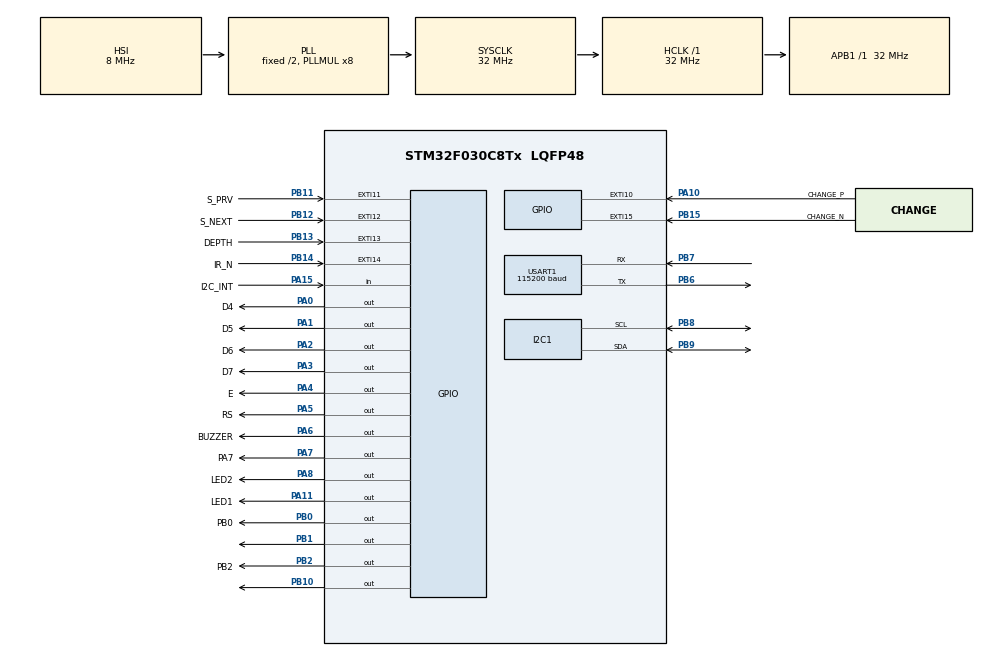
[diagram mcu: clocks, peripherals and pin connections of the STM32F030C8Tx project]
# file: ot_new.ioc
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Mcu.Family=STM32F0
Mcu.Name=STM32F030C8Tx
Mcu.Package=LQFP48
NVIC.EXTI4_15_IRQn=true\:0\:0\:false\:false\:true\:true\:true\:true
NVIC.RCC_IRQn=true\:0\:0\:false\:false\:true\:true\:false\:true
NVIC.TIM14_IRQn=true\:0\:0\:false\:false\:true\:true\:true\:true
NVIC.TIM6_IRQn=true\:0\:0\:false\:false\:true\:true\:true\:true
NVIC.USART1_IRQn=true\:1\:0\:true\:false\:true\:true\:true\:true
PA0.GPIO_Label=D4
PA0.Signal=GPIO_Output
PA1.GPIO_Label=D5
PA1.Signal=GPIO_Output
PA10.GPIO_Label=CHANGE_P
PA10.Signal=GPXTI10
PA11.GPIO_Label=LED1
PA11.Signal=GPIO_Output
PA12.Signal=USART1_DE
PA13.Mode=Serial_Wire
PA13.Signal=SYS_SWDIO
PA14.Mode=Serial_Wire
PA14.Signal=SYS_SWCLK
PA15.GPIO_Label=I2C_INT
PA15.Signal=GPIO_Input
PA2.GPIO_Label=D6
PA2.Signal=GPIO_Output
PA3.GPIO_Label=D7
PA3.Signal=GPIO_Output
PA4.GPIO_Label=E
PA4.Signal=GPIO_Output
PA5.GPIO_Label=RS
PA5.Signal=GPIO_Output
PA6.GPIO_Label=BUZZER
PA6.Signal=GPIO_Output
PA7.GPIO_Label=PA7
PA7.Signal=GPIO_Output
PA8.GPIO_Label=LED2
PA8.Signal=GPIO_Output
PB0.GPIO_Label=PB0
PB0.Signal=GPIO_Output
PB1.Signal=GPIO_Output
PB10.Signal=GPIO_Output
PB11.GPIO_Label=S_PRV
PB11.Signal=GPXTI11
PB12.GPIO_Label=S_NEXT
PB12.Signal=GPXTI12
PB13.GPIO_Label=DEPTH
PB13.Signal=GPXTI13
PB14.GPIO_Label=IR_N
PB14.Signal=GPXTI14
PB15.GPIO_Label=CHANGE_N
PB15.Signal=GPXTI15
PB2.GPIO_Label=PB2
PB2.Signal=GPIO_Output
PB6.Mode=Asynchronous
PB6.Signal=USART1_TX
PB7.Mode=Asynchronous
PB7.Signal=USART1_RX
PB8.GPIO_Pu=GPIO_PULLUP
PB8.Mode=I2C
PB8.Signal=I2C1_SCL
PB9.GPIO_Pu=GPIO_PULLUP
PB9.Mode=I2C
PB9.Signal=I2C1_SDA
PF0-OSC_IN.Mode=HSE-External-Oscillator
PF0-OSC_IN.Signal=RCC_OSC_IN
PF1-OSC_OUT.Mode=HSE-External-Oscillator
PF1-OSC_OUT.Signal=RCC_OSC_OUT
ProjectManager.HeapSize=0x200
ProjectManager.StackSize=0x400
ProjectManager.TargetToolchain=STM32CubeIDE
RCC.AHBFreq_Value=32000000
RCC.APB1Freq_Value=32000000
RCC.APB1TimFreq_Value=32000000
RCC.HCLKFreq_Value=32000000
RCC.PLLMUL=RCC_PLL_MUL8
RCC.SYSCLKFreq_VALUE=32000000
RCC.SYSCLKSource=RCC_SYSCLKSOURCE_PLLCLK
TIM14.Period=3000
TIM14.Prescaler=32000-1
TIM6.AutoReloadPreload=TIM_AUTORELOAD_PRELOAD_ENABLE
TIM6.Period=1000-1
TIM6.Prescaler=32000-1
USART1.BaudRate=115200
USART1.VirtualMode-Asynchronous=VM_ASYNC
VP_TIM14_VS_ClockSourceINT.Mode=Enable_Timer
VP_TIM6_VS_ClockSourceINT.Mode=Enable_Timer
board=custom

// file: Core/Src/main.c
/* USER CODE BEGIN Header */
/**
 ******************************************************************************
 * @file           : main.c
 * @brief          : Main program body
 ******************************************************************************
 * @attention
 *
 * Copyright (c) 2022 STMicroelectronics.
 * All rights reserved.
 *
 * This software is licensed under terms that can be found in the LICENSE file
 * in the root directory of this software component.
 * If no LICENSE file comes with this software, it is provided AS-IS.
 *
 ******************************************************************************
 */
/* USER CODE END Header */
#include "main.h"

/* USER CODE BEGIN Includes */
#include <stdio.h>
#include <stdbool.h>
/* USER CODE END Includes */

/* USER CODE BEGIN PTD */
uint32_t timer_intrupt = 0;
uint8_t depth_press = 0;
uint8_t focus_upd = 0;
#define on 1
#define off 0

void page_3_print(void);
void page_2_print(void);
void send_cmd(int8_t x, int8_t mode);

uint8_t last_pg, current_pg;
uint8_t pg2 = 0;
uint8_t pg2_fc = 0;

uint8_t pg3_sm, pg3_md, pg3_wd = 0;

uint32_t tt_cnt = 0;
uint8_t last_ps;
uint8_t Rx_data[2];
enum pos
{
	intensity = 1,
	color,
	sensor,
	lamp,
	endo,
	depth
};

enum key
{
	_prv,
	_nxt,
	_depth,
	_neg,
	_pos,
	_lmp
};

struct key_status_reg
{
	volatile uint8_t prv : 1;
	volatile uint8_t nxt : 1;
	volatile uint8_t depth : 1;
	volatile uint8_t pos : 1;
	volatile uint8_t neg : 1;
};

struct gesture_status_reg
{
	uint8_t up : 1;
	uint8_t down : 1;
	uint8_t left : 1;
	uint8_t right : 1;
};

struct interrupt_flag_reg
{
	volatile uint8_t key_flag : 1;
	volatile uint8_t gesture_flag : 1;
	volatile uint8_t screen_flag : 1;
	volatile uint8_t prv_long_press : 1;
	volatile uint8_t depth_long_press : 1;
	volatile uint8_t update_data : 1;
};

struct pos_status_reg
{
	int8_t position_cursor;
	uint16_t key_number : 3;
	uint16_t gesture_direction : 2;
	uint16_t screen_number : 3;
};

struct screen_data_reg
{
	uint8_t intensity : 4;
	uint8_t sensor : 1;
	uint8_t lamp : 1;
	uint8_t endo : 1;
	uint8_t depth : 1;
	int8_t color;
};

enum pos cursor;
struct key_status_reg key_pressed;
struct gesture_status_reg ges_dir;
struct interrupt_flag_reg interrupt_reg;
struct pos_status_reg current_pos = {1, 0, 0, 1};
struct screen_data_reg data_reg = {1, 0, 1, 0, 0, 0};

int8_t last_inten;
int8_t last_focus;
/* USER CODE END PTD */

/* USER CODE BEGIN PM */
void init_gesture();
uint8_t readGesture();
uint8_t gestureAvailable();
void clr_select();
void clr_data(uint8_t);
/* USER CODE END PM */

I2C_HandleTypeDef hi2c1;

TIM_HandleTypeDef htim6;
TIM_HandleTypeDef htim14;

UART_HandleTypeDef huart1;

void SystemClock_Config(void);
static void MX_GPIO_Init(void);
static void MX_TIM6_Init(void);
static void MX_USART1_UART_Init(void);
static void MX_TIM14_Init(void);
static void MX_I2C1_Init(void);

/* USER CODE BEGIN 0 */

void home_page(void);
void lcd_clear(void);
void lcd_init(void);
void lcd_puts(uint8_t x, uint8_t y, int8_t *string);

// volatile  uint8_t intr = 0;
// void HAL_UART_RxCpltCallback(UART_HandleTypeDef *huart)
//{
//	HAL_UART_Receive_IT(&huart1, Rx_data, 2);
//	intr = 1;
// }

volatile uint8_t int_flag = 0;
uint8_t trans[2];
uint8_t pic;

// void HAL_UART_RxCpltCallback(UART_HandleTypeDef *huart)
//{
//   HAL_UART_Receive_DMA(&huart1, trans, 2);
//   int_flag = 1;
// }

void HAL_UART_RxCpltCallback(UART_HandleTypeDef *huart)
{
	//	printf(Rx_data);
	HAL_UART_Receive_IT(&huart1, trans, 2);

	//  HAL_UART_Transmit(&huart1,trans,10,HAL_MAX_DELAY);
	//  memset(Rx_data,0,10);

	int_flag = 1;
}

uint8_t but_state = 0;
// Callback: timer has rolled over
// void HAL_TIM_PeriodElapsedCallback(TIM_HandleTypeDef *htim)
// {
// 	// Check which version of the timer triggered this callback and toggle LED
// 	if (htim == &htim6)
// 	{
// 		//    HAL_GPIO_TogglePin(GPIOA, GPIO_PIN_5);
// 		tt_cnt++;
// 	}
// }

void HAL_TIM_PeriodElapsedCallback(TIM_HandleTypeDef *htim)
{

	if (htim == &htim6)
	{
		//    HAL_GPIO_TogglePin(GPIOA, GPIO_PIN_5);
		tt_cnt++;
	}
	/* Prevent unused argument(s) compilation warning */
	UNUSED(htim);

	/* NOTE : This function should not be modified, when the callback is needed,
			  the HAL_TIM_PeriodElapsedCallback could be implemented in the user file
	 */

	if (htim == &htim14)
	{
		if (HAL_GPIO_ReadPin(S_PRV_GPIO_Port, S_PRV_Pin) == GPIO_PIN_RESET)
		{

			but_state = true;
			HAL_TIM_Base_Stop_IT(&htim14);
		}
	}
}

void print_int(int _data)
{
	int8_t buffer[8];
	lcd_clear();
	sprintf(buffer, "%02d", _data);
	lcd_puts(3, 2, buffer); // x = 2, y = 3
}

uint8_t chk_cmd = 0;
uint8_t update_key_press()
{
	if (key_pressed.prv)
	{
		current_pos.key_number = _prv;
		key_pressed.prv = 0;
		chk_cmd = 1;
		return _prv;
	}
	else if (key_pressed.nxt)
	{
		key_pressed.nxt = 0;
		chk_cmd = 1;
		current_pos.key_number = _nxt;

		return _nxt;
	}
	else if (key_pressed.depth)
	{
		// 		key_pressed.depth = 0;
		// 		current_pos.key_number = _depth;
		// 		data_reg.depth = !data_reg.depth;
		// 		clr_data(depth);
		// 		clr_select();
		// //		lcd_puts(3, 10, (int8_t *)">");
		// 		if (data_reg.depth)
		// 			lcd_puts(3, 17, (int8_t *)"ON");
		// 		else
		// 			lcd_puts(3, 17, (int8_t *)"OFF");

		// 		return _depth;

		key_pressed.depth = 0;
		current_pos.key_number = _depth;
		// data_reg.endo = !data_reg.endo;
		clr_data(endo);
		clr_select();
		//		lcd_puts(3, 10, (int8_t *)">");

		if (data_reg.endo)
			lcd_puts(2, 17, (int8_t *)"ON");
		else
			lcd_puts(2, 17, (int8_t *)"OFF");

		return _depth;
	}
	else if (key_pressed.pos)
	{
		key_pressed.pos = 0;
		current_pos.key_number = _pos;
		last_ps = _pos;
		chk_cmd = 0;
		return _pos;
	}
	else if (key_pressed.neg)
	{
		key_pressed.neg = 0;
		current_pos.key_number = _neg;
		last_ps = _neg;
		chk_cmd = 0;
		return _neg;
	}

	return 0;
}

// void long_prv_press()
//{
//	current_pos.position_cursor =  sensor;
//	data_reg.sensor = !data_reg.sensor;
//
// }
void set_data_positive()
{
	if (pg2_fc == 0)
	{
		switch (current_pos.position_cursor)
		{
		case intensity:
			if (!data_reg.depth)
			{
				data_reg.intensity++;
				if (data_reg.intensity >= 10)
				{
					data_reg.intensity = 10;
				}
			}
			else
			{
				//				data_reg.intensity = 10;
				depth_press = 1;
			}

			break;
		case color:
			// if (!data_reg.depth)
			// {
			data_reg.color++;
			if (data_reg.color > 1)
			{
				data_reg.color = 1;
			}
			// }

			break;
		case sensor:
			data_reg.sensor = on;
			break;
		case lamp:
			data_reg.lamp = on;
			break;
		case endo:
			data_reg.endo = on;
			break;
		case depth:
			data_reg.depth = on;
			//			last_inten = data_reg.intensity;
			break;
		case 7:
			pg2_fc = on;
			break;
		}
	}

	else
	{
		switch (current_pos.position_cursor)
		{
		case 7:
			pg2_fc = on;
			pg3_sm = off;
			pg3_md = off;
			pg3_wd = off;
			break;
		case 1:
			pg3_sm = on;
			pg3_md = off;
			pg3_wd = off;
			break;
		case 2:
			pg3_sm = off;
			pg3_md = on;
			pg3_wd = off;
			break;
		case 3:
			pg3_sm = off;
			pg3_md = off;
			pg3_wd = on;
			break;
		}
	}
}

void set_data_negative()
{
	if (pg2_fc == 0)
	{

		switch (current_pos.position_cursor)
		{
		case intensity:
			if (!data_reg.depth)
			{
				data_reg.intensity--;
				if (data_reg.intensity <= 1)
				{
					data_reg.intensity = 1;
				}
			}
			else
			{
				depth_press = 1;
			}
			break;
		case color:
			// if (!data_reg.depth)
			// {
			data_reg.color--;
			if (data_reg.color < -1)
			{
				data_reg.color = -1;
			}
			// }
			break;
		case sensor:
			data_reg.sensor = off;
			break;
		case lamp:
			data_reg.lamp = off;
			break;
		case endo:
			data_reg.endo = off;
			data_reg.intensity = data_reg.intensity;
			break;
		case depth:
			data_reg.depth = off;
			break;
		case 7:
			pg2_fc = off;
			break;
		}
	}

	else
	{
		switch (current_pos.position_cursor)
		{
		case 7:
			pg2_fc = off;
			break;
		case 1:
			pg3_sm = off;
			break;
		case 2:
			pg3_md = off;
			break;
		case 3:
			pg3_wd = off;
			break;
		}
	}
}

void update_new_data()
{
	switch (current_pos.key_number)
	{
	case _prv:
		current_pos.position_cursor--;
		if (!data_reg.sensor)
		{

			if (current_pos.position_cursor == 3)
			{
				current_pos.position_cursor = 2;
			}
		}
		// if (pg2_fc == 1)
		// {
		// 	if (current_pos.position_cursor > 3)
		// 	{
		// 		current_pos.position_cursor = 7;
		// 	}
		// }

		if (current_pos.position_cursor <= 0)
		{
			//			lcd_clear();
			current_pos.position_cursor = 7;
		}
		break;
	case _nxt:
		current_pos.position_cursor++;

		if (!data_reg.sensor)
		{

			if (current_pos.position_cursor == 3 && (pg2_fc == 0))
			{
				current_pos.position_cursor = 4;
			}
		}
		//		if (current_pos.position_cursor == 7)
		//		{
		//			page_2_print();
		//		}

		//		if (pg2_fc == 1)
		//		{
		//			if (current_pos.position_cursor > 3)
		//			{
		//				current_pos.position_cursor = 7;
		//			}
		//		}

		if (current_pos.position_cursor > 7)
		{

			current_pos.position_cursor = 1;
		}
		break;
	case _depth:
		//		data_reg.depth = !data_reg.depth;
		// 		if (data_reg.depth)
		// 		{
		// 			current_pos.position_cursor = intensity;
		// 			last_inten = data_reg.intensity;
		// 			data_reg.intensity = 10;
		// 			depth_press = 1;
		// //			data_reg.depth = on;
		// 		}

		data_reg.endo = !data_reg.endo;
		current_pos.position_cursor = endo;
		if (data_reg.endo)
		{

			// last_inten = data_reg.intensity;
			data_reg.endo = 1;
			// depth_press = 1;
			//			data_reg.depth = on;
		}

		else
		{
			// current_pos.position_cursor = endo;
			data_reg.endo = 0;
			// depth_press = 1;
			//			data_reg.depth = off;
		}
		break;
	case _pos:
		set_data_positive();
		break;
	case _neg:
		set_data_negative();
		break;
	case _lmp:
		data_reg.lamp = !data_reg.lamp;
		current_pos.position_cursor = lamp;
		if (data_reg.lamp)
		{

			data_reg.lamp = 1;
		}

		else
		{

			data_reg.lamp = 0;
		}
		break;
	}
}

void page_2_print()
{
	lcd_puts(0, 0, (int8_t *)">");
	lcd_puts(0, 1, (int8_t *)"FOCUS  :");
}

void page_3_print()
{
	// char buf[3];
	// lcd_puts(0, 0, (int8_t *)">");
	// lcd_puts(0, 1, (int8_t *)"FOCUS  :");
	// lcd_puts(1, 1, (int8_t *)"SMALL  : ");
	// lcd_puts(2, 1, (int8_t *)"Medium : ");
	// lcd_puts(3, 1, (int8_t *)"Wide   : ");

	// lcd_puts(1, 10, (int8_t *)"ON");
	// lcd_puts(3, 10, (int8_t *)"OFF");
	// lcd_puts(2, 10, (int8_t *)"OFF");

	// switch (current_pos.position_cursor)
	// {

	// case 1:
	// 		if (pg3_sm)
	// 			lcd_puts(1, 17, (int8_t *)"ON");
	// 		else
	// 			lcd_puts(1, 17, (int8_t *)"OFF");

	// 	break;
	// case 2:
	// 		if (pg3_md)
	// 			lcd_puts(1, 17, (int8_t *)"ON");
	// 		else
	// 			lcd_puts(1, 17, (int8_t *)"OFF");
	// 	break;
	// case 3:
	// 		if (pg3_wd)
	// 			lcd_puts(1, 17, (int8_t *)"ON");
	// 		else
	// 			lcd_puts(1, 17, (int8_t *)"OFF");
	// 	break;
	// }

	// if (pg3_sm)
	// {
	// 	clr_data(8);
	// 	send_cmd(pg3_sm, 8);
	// 	lcd_puts(1, 10, (int8_t *)"ON");
	// 	lcd_puts(3, 10, (int8_t *)"OFF");
	// 	lcd_puts(2, 10, (int8_t *)"OFF");
	// }
	// else
	// {
	// 	lcd_puts(1, 10, (int8_t *)"OFF");
	// 	send_cmd(pg3_sm, 8);
	// }

	//  if (pg3_md)
	// {
	// 	clr_data(9);
	// 	send_cmd(pg3_md, 9);
	// 	lcd_puts(2, 10, (int8_t *)"ON");
	// 	lcd_puts(3, 10, (int8_t *)"OFF");
	// 	lcd_puts(1, 10, (int8_t *)"OFF");
	// }

	// else
	// {
	// 	lcd_puts(2, 10, (int8_t *)"OFF");
	// 	send_cmd(pg3_md, 9);
	// }

	//  if (pg3_wd)
	// {
	// 	clr_data(10);
	// 	send_cmd(pg3_wd, 10);
	// 	lcd_puts(3, 10, (int8_t *)"ON");
	// 	lcd_puts(1, 10, (int8_t *)"OFF");
	// 	lcd_puts(2, 10, (int8_t *)"OFF");
	// }

	// else
	// {
	// 	send_cmd(pg3_wd, 10);
	// 	lcd_puts(3, 10, (int8_t *)"OFF");
	// }

	// else
	// {
	// 	lcd_puts(3, 10, (int8_t *)"OFF");
	// 	lcd_puts(1, 10, (int8_t *)"OFF");
	// 	lcd_puts(2, 10, (int8_t *)"OFF");
	// }
}

void update_screen_data_2()
{
	focus_upd = 1;
	lcd_puts(0, 0, (int8_t *)">");
	lcd_puts(0, 10, (int8_t *)"Disable");

	// lcd_puts(2, 10, (int8_t *)"OFF");
	// send_cmd(!pg3_md, 9);

	// lcd_puts(1, 10, (int8_t *)"OFF");
	// send_cmd(!pg3_sm, 8);

	// lcd_puts(3, 10, (int8_t *)"OFF");
	// send_cmd(!pg3_wd, 10);
	// send_cmd(1, 11);
}

void update_screen_data_3()
{

	// if (current_pos.key_number == _pos || current_pos.key_number == _neg)

	lcd_puts(0, 0, (int8_t *)">");
	lcd_puts(0, 1, (int8_t *)"FOCUS  :");
	lcd_puts(1, 1, (int8_t *)"SMALL  : ");
	lcd_puts(2, 1, (int8_t *)"Medium : ");
	lcd_puts(3, 1, (int8_t *)"Wide   : ");

	switch (current_pos.position_cursor)
	{

	case 7:

		if (pg2_fc == 1)
		{

			lcd_puts(0, 15, (int8_t *)"  ");
			lcd_puts(0, 10, (int8_t *)"Enable");
			lcd_puts(1, 10, (int8_t *)"OFF");
			lcd_puts(2, 10, (int8_t *)"OFF");
			lcd_puts(3, 10, (int8_t *)"OFF");
			if (focus_upd)
			{
				lcd_puts(3, 10, (int8_t *)"OFF");
				lcd_puts(1, 10, (int8_t *)"OFF");
				lcd_puts(2, 10, (int8_t *)"OFF");
				pg3_sm = 0;
				pg3_md = 0;
				pg3_wd = 0;
			}

			last_focus = data_reg.intensity;

			// if (pg3_md)
			// {
			// 	lcd_puts(2, 10, (int8_t *)"   ");
			// 	lcd_puts(1, 10, (int8_t *)"OFF");
			// 	lcd_puts(2, 10, (int8_t *)"ON");
			// 	lcd_puts(3, 10, (int8_t *)"OFF");
			// 	send_cmd(pg3_md, 9);
			// }
			// send_cmd(0, 11);
		}
		// else if(pg2_fc == 5)
		// {

		// }
		else
		{
			lcd_puts(0, 0, (int8_t *)">");
			lcd_puts(1, 0, (int8_t *)" ");
			lcd_puts(2, 0, (int8_t *)" ");
			lcd_puts(3, 0, (int8_t *)" ");
			// focus_upd=1;
			if (focus_upd == 1)
			{
				lcd_puts(2, 10, (int8_t *)"OFF");
				lcd_puts(1, 10, (int8_t *)"OFF");
				lcd_puts(3, 10, (int8_t *)"OFF");
			}
			lcd_puts(0, 10, (int8_t *)"Disable");

			// lcd_puts(2, 10, (int8_t *)"OFF");
			send_cmd(!pg3_md, 9);

			// lcd_puts(1, 10, (int8_t *)"OFF");
			send_cmd(!pg3_sm, 8);

			// lcd_puts(3, 10, (int8_t *)"OFF");
			send_cmd(!pg3_wd, 10);

			// send_cmd(1, 11);
		}
		break;

	case 1:
		lcd_puts(0, 0, (int8_t *)" ");
		lcd_puts(1, 0, (int8_t *)">");
		lcd_puts(2, 0, (int8_t *)" ");
		lcd_puts(3, 0, (int8_t *)" ");
		lcd_puts(0, 10, (int8_t *)"Enable");

		if (pg3_sm)
		{
			focus_upd = 0;
			lcd_puts(1, 10, (int8_t *)"   ");
			lcd_puts(1, 17, (int8_t *)"   ");
			lcd_puts(1, 10, (int8_t *)"ON");
			lcd_puts(2, 10, (int8_t *)"OFF");
			lcd_puts(3, 10, (int8_t *)"OFF");
			send_cmd(pg3_sm, 8);

			// send_cmd(pg3_sm, 8);
		}
		else
		{
			lcd_puts(1, 10, (int8_t *)"OFF");
			lcd_puts(2, 10, (int8_t *)"OFF");
			lcd_puts(3, 10, (int8_t *)"OFF");
			// lcd_puts(2, 10, (int8_t *)"OFF");
			// lcd_puts(3, 10, (int8_t *)"OFF");
			// lcd_puts(3, 10, (int8_t *)"ON");
			send_cmd(pg3_sm, 8);
		}

		// // send_cmd(0, 9);
		// // send_cmd(0, 10);
		// // send_cmd(pg3_sm, 8);
		// if (last_ps == _pos || last_ps == _neg)
		// {
		// 	// send_cmd(0, 9);
		// 	// send_cmd(0, 10);
		// send_cmd(pg3_sm, 8);
		// }

		break;
	case 2:
		lcd_puts(0, 0, (int8_t *)" ");
		lcd_puts(1, 0, (int8_t *)" ");
		lcd_puts(2, 0, (int8_t *)">");
		lcd_puts(3, 0, (int8_t *)" ");
		lcd_puts(0, 10, (int8_t *)"Enable");
		if (pg3_md)
		{
			lcd_puts(2, 10, (int8_t *)"   ");
			lcd_puts(1, 10, (int8_t *)"OFF");
			lcd_puts(2, 10, (int8_t *)"ON");
			lcd_puts(3, 10, (int8_t *)"OFF");
			send_cmd(pg3_md, 9);
		}
		else
		{
			// lcd_puts(1, 10, (int8_t *)"OFF");
			lcd_puts(1, 10, (int8_t *)"OFF");
			lcd_puts(2, 10, (int8_t *)"OFF");
			lcd_puts(3, 10, (int8_t *)"OFF");
			// lcd_puts(3, 10, (int8_t *)"OFF");
			send_cmd(pg3_md, 9);
		}
		// if (last_ps == _pos || last_ps == _neg)
		// {
		// 	// send_cmd(0, 10);
		// 	// 	send_cmd(0, 8);
		// 	send_cmd(pg3_md, 9);
		// }

		break;
	case 3:
		lcd_puts(0, 0, (int8_t *)" ");
		lcd_puts(1, 0, (int8_t *)" ");
		lcd_puts(2, 0, (int8_t *)" ");
		lcd_puts(3, 0, (int8_t *)">");
		lcd_puts(0, 10, (int8_t *)"Enable");
		if (pg3_wd)
		{

			lcd_puts(3, 10, (int8_t *)"   ");
			lcd_puts(1, 10, (int8_t *)"OFF");
			lcd_puts(2, 10, (int8_t *)"OFF");
			lcd_puts(3, 10, (int8_t *)"ON");
			send_cmd(pg3_wd, 10);
		}

		else
		{
			// lcd_puts(1, 10, (int8_t *)"OFF");
			// lcd_puts(2, 10, (int8_t *)"OFF");
			// lcd_puts(3, 10, (int8_t *)"OFF");
			// lcd_puts(2, 10, (int8_t *)"OFF");

			lcd_puts(1, 10, (int8_t *)"OFF");
			lcd_puts(2, 10, (int8_t *)"OFF");
			lcd_puts(3, 10, (int8_t *)"OFF");
			send_cmd(pg3_md, 10);
		}
		// else
		// {
		// 	lcd_puts(3, 10, (int8_t *)"OFF");
		// 	lcd_puts(1, 10, (int8_t *)"OFF");
		// 	lcd_puts(2, 10, (int8_t *)"OFF");
		// 	send_cmd(pg3_sm, 8);
		// 	send_cmd(pg3_md, 9);

		// 	send_cmd(!pg3_wd, 10);

		// 	// send_cmd(!pg3_wd, 10);
		// }
		// if (last_ps == _pos || last_ps == _neg)
		// {
		// 	// send_cmd(0, 8);
		// 	// send_cmd(0, 9);
		// 	send_cmd(pg3_wd, 10);
		// }
		break;
	}
	// }
}

void update_screen_data()
{
	char buffer[3];

	switch (current_pos.position_cursor)
	{
	case intensity:
		if (data_reg.depth == 1)
		{
			//			sprintf(buffer, "%02d", data_reg.intensity);
			//			last_inten = data_reg.intensity;
			//			send_cmd(7,intensity);
			// lcd_puts(1, 7, (int8_t *)"MAX");
			depth_press = 0;
		}
		else
		{
			clr_data(intensity);
			sprintf(buffer, "%02d", data_reg.intensity);
			lcd_puts(1, 7, (int8_t *)buffer);
		}

		clr_select();
		lcd_puts(1, 0, (int8_t *)">");
		if (!chk_cmd)
		{
			send_cmd(data_reg.intensity, intensity);
		}

		break;

	case color:
		if (data_reg.color == 1)
		{
			lcd_puts(2, 7, (int8_t *)"CW");
			if (!chk_cmd)
			{
				send_cmd(5, color);
			}
		}
		else if (data_reg.color == -1)
		{
			lcd_puts(2, 7, (int8_t *)"WW");
			if (!chk_cmd)
			{
				send_cmd(-5, color);
			}
		}

		else
		{
			lcd_puts(2, 7, (int8_t *)"NW");
			if (!chk_cmd)
			{
				send_cmd(0, color);
			}
		}

		// sprintf(buffer, "%02d", data_reg.color);
		// lcd_puts(2, 7, (int8_t *)buffer);
		clr_select();
		lcd_puts(2, 0, (int8_t *)">");
		// send_cmd(data_reg.color, color);
		break;

	case sensor:
		clr_data(sensor);
		clr_select();
		lcd_puts(3, 0, (int8_t *)">");
		send_cmd(data_reg.sensor, sensor);

		if (data_reg.sensor)
			lcd_puts(3, 7, (int8_t *)"ON");
		else
			lcd_puts(3, 7, (int8_t *)"OFF");

		break;

	case lamp:
		clr_data(lamp);
		clr_select();
		lcd_puts(1, 10, (int8_t *)">");
		send_cmd(data_reg.lamp, lamp);
		if (current_pos.key_number == _pos || current_pos.key_number == _neg || current_pos.key_number == _lmp)
		{
			send_cmd(data_reg.lamp, lamp);
		}
		if (data_reg.lamp)
			lcd_puts(1, 17, (int8_t *)"ON");
		else
			lcd_puts(1, 17, (int8_t *)"OFF");

		break;

	case endo:
		clr_data(endo);
		clr_select();
		lcd_puts(2, 10, (int8_t *)">");

		// if (current_pos.key_number == _pos || current_pos.key_number == _neg)
		// {
		// 	send_cmd(data_reg.endo, endo);
		// }
		if (!chk_cmd)
		{
			send_cmd(data_reg.endo, endo);
		}
		if (data_reg.endo)
			lcd_puts(2, 17, (int8_t *)"ON");
		else
			lcd_puts(2, 17, (int8_t *)"OFF");

		break;

	case depth:
		clr_data(depth);
		clr_select();
		lcd_puts(3, 10, (int8_t *)">");
		if (current_pos.key_number == _pos || current_pos.key_number == _neg)
		{
			send_cmd(data_reg.depth, depth);
			HAL_Delay(200);
		}
		if (data_reg.depth)
		{
			// lcd_puts(1, 7, (int8_t *)"MAX");
			lcd_puts(3, 17, (int8_t *)"ON");
		}
		else
		{

			lcd_puts(3, 17, (int8_t *)"OFF");

			if (data_reg.color == 1)
			{
				send_cmd(5, color);
			}
			else if (data_reg.color == -1)
			{
				send_cmd(-5, color);
			}
			else
			{
				clr_data(intensity);
				// if nw
				sprintf(buffer, "%02d", data_reg.intensity);
				lcd_puts(1, 7, (int8_t *)buffer);
			}

			// if cw

			// if ww
		}

		break;
	}
}

void send_cmd(int8_t x, int8_t mode)
{
	uint8_t data[5];
	data[0] = '@';
	data[4] = '#';
	switch (mode)
	{
	case intensity:
		data[1] = 'I';
		data[2] = '0';
		if (x == 10)
		{
			data[3] = ':'; //@I0:#
			HAL_UART_Transmit(&huart1, &data[0], 5, 100);
		}
		else
		{
			data[3] = 48 + x;
			HAL_UART_Transmit(&huart1, &data[0], 5, 100);
		}
		break;
	case color:
		if (x > 0)
		{
			data[1] = 'C'; //@c-0#
			data[2] = '+';
			data[3] = 48 + x;
		}
		else if (x < 0)
		{
			data[1] = 'C';
			data[2] = '-';
			data[3] = (48 + (x) * (-1));
		}
		else
		{
			data[1] = 'C';
			data[2] = '-'; //@c-0#
			data[3] = '0';
		}
		HAL_UART_Transmit(&huart1, &data[0], 5, 100);
		break;
	case sensor:
		// data[1] = 'I';data[2] = '0';data[3] = 48+x;
		// HAL_UART_Transmit(&huart1, &data[0], 5, 100);
		break;

	case lamp:
		data[1] = 'L'; //@L_1#
		data[2] = '_';
		data[3] = 48 + x;
		HAL_UART_Transmit(&huart1, &data[0], 5, 100);
		break;
	case endo:
		data[1] = 'E';
		data[2] = '_';
		data[3] = 48 + x;
		HAL_UART_Transmit(&huart1, &data[0], 5, 100);
		break;
	case depth:
		data[1] = 'D';
		data[2] = '_';
		data[3] = 48 + x;
		HAL_UART_Transmit(&huart1, &data[0], 5, 100);

		break;
	case 8:

		if (x == 1)
		{
			data[1] = 'F';
			data[2] = '_';
			data[3] = 48 + 1;
		}
		else if (x == 0)
		{
			data[1] = 'R';
			data[2] = 'E';
			data[3] = 'S';
		}

		HAL_UART_Transmit(&huart1, &data[0], 5, 100);
		break;
	case 9:
		if (x == 1)
		{
			data[1] = 'F';
			data[2] = '_';
			data[3] = 48 + 2;
		}
		else if (x == 0)
		{
			data[1] = 'R';
			data[2] = 'E';
			data[3] = 'S';
		}
		HAL_UART_Transmit(&huart1, &data[0], 5, 100);
		break;
	case 10:
		if (x == 1)
		{
			data[1] = 'F';
			data[2] = '_';
			data[3] = 48 + 3;
		}
		else if (x == 0)
		{
			data[1] = 'R';
			data[2] = 'E';
			data[3] = 'S';
		}
		HAL_UART_Transmit(&huart1, &data[0], 5, 100);
		break;
	case 11:
		if (x == 0)
		{
			data[1] = 'F';
			data[2] = '_';
			data[3] = 48 + 5;
		}
		else if (x == 1)
		{
			data[1] = 'I';
			data[2] = '_';
			data[3] = 48 + last_focus;
		}
		//		data[1] = 'F';
		//		data[2] = '_';
		//		data[3] = 48 + 4;
		HAL_UART_Transmit(&huart1, &data[0], 5, 100);
		break;
	}
}

void page1_print(void)
{
	char buffer[3];
	lcd_puts(0, 0, (int8_t *)"______ COGNATE _____");
	lcd_puts(1, 1, (int8_t *)"INTEN");
	lcd_puts(2, 1, (int8_t *)"COLOR");
	lcd_puts(3, 1, (int8_t *)"SENSR");
	lcd_puts(1, 11, (int8_t *)"LAMP");
	lcd_puts(2, 11, (int8_t *)"ENDO");
	lcd_puts(3, 11, (int8_t *)"DEPTH");

	//	lcd_puts(1, 0, (int8_t *)">");

	sprintf(buffer, "%02d", data_reg.intensity);
	lcd_puts(1, 7, (int8_t *)buffer);

	//	sprintf(buffer, "%02d", data_reg.color);
	if (data_reg.color == 1)
	{
		lcd_puts(2, 7, (int8_t *)"CW");
	}
	else if (data_reg.color == -1)
	{
		lcd_puts(2, 7, (int8_t *)"WW");
	}

	else
	{
		lcd_puts(2, 7, (int8_t *)"NW");
	}

	//	lcd_puts(2, 7, (int8_t *)"NW");

	clr_data(sensor);

	if (data_reg.sensor)
		lcd_puts(3, 7, (int8_t *)"ON");
	else
		lcd_puts(3, 7, (int8_t *)"OFF");

	clr_data(lamp);
	if (data_reg.lamp)
		lcd_puts(1, 17, (int8_t *)"ON");
	else
		lcd_puts(1, 17, (int8_t *)"OFF");

	clr_data(endo);
	if (data_reg.endo)
		lcd_puts(2, 17, (int8_t *)"ON");
	else
		lcd_puts(2, 17, (int8_t *)"OFF");

	clr_data(depth);
	if (data_reg.depth)
		lcd_puts(3, 17, (int8_t *)"ON");
	else
		lcd_puts(3, 17, (int8_t *)"OFF");

	lcd_puts(1, 0, (int8_t *)">");
}

void HAL_GPIO_EXTI_Callback(uint16_t GPIO_Pin)
{

	static uint32_t _time;

	if ((HAL_GetTick() - _time) >= 100)
	{

		// if (GPIO_Pin == S_PRV_Pin)
		// {

		// 	key_pressed.prv = 1;
		// 	interrupt_reg.key_flag = 1;
		// 	// HAL_TIM_Base_Start_IT(&htim6);
		// 	// but_state = false;
		// }

		// if (GPIO_Pin == S_NEXT_Pin)
		// {

		// 	key_pressed.nxt = 1;
		// 	interrupt_reg.key_flag = 1;
		// }

		//  if (GPIO_Pin == DEPTH_Pin)
		// {

		// 	key_pressed.depth = 1;
		// 	interrupt_reg.key_flag = 1;
		// }

		// if (GPIO_Pin == CHANGE_N_Pin)
		// {

		// 	key_pressed.neg = 1;
		// 	interrupt_reg.key_flag = 1;
		// }

		// else if (GPIO_Pin == CHANGE_P_Pin)
		// {

		// 	key_pressed.pos = 1;
		// 	interrupt_reg.key_flag = 1;
		// }

		// else if (GPIO_Pin == I2C_INT_Pin)
		// {
		// 	//			interrupt_reg.key_flag = 1;
		// 	//			key_pressed.prv =1;
		// }

		_time = HAL_GetTick();
	}

	else
	{
		__NOP();
	}
}

void beep_sound()
{
	HAL_GPIO_WritePin(GPIOA, GPIO_PIN_6, 1);
	HAL_Delay(35);
	HAL_GPIO_WritePin(GPIOA, GPIO_PIN_6, 0);
	HAL_Delay(35);
	//	beep_sound_flag = 0;
}

// void HAL_GPIO_EXTI_Callback(uint16_t GPIO_Pin)
// {
// 	if (GPIO_Pin == S_PRV_Pin && state == true)
// 	{
// 		HAL_TIM_Base_Start_IT(&htim6);
// 		but_state = false;
// 	}
// 	else
// 	{
// 		__NOP();
// 	}
// }

// typedef enum
// {
// 	NO_PRESS,
// 	SINGLE_PRESS,
// 	LONG_PRESS,
// 	DOUBLE_PRESS
// } eButtonEvent;

// bool buttonState()
// {
// 	static const uint32_t DEBOUNCE_MILLIS = 200;
// 	static bool buttonstate; // = HAL_GPIO_ReadPin( S_PRV_GPIO_Port, S_PRV_Pin ) == 1 ;
// 	buttonstate = HAL_GPIO_ReadPin(S_PRV_GPIO_Port, S_PRV_Pin) == 1;
// 	static uint32_t buttonstate_ts; // = HAL_GetTick() ;

// 	buttonstate_ts = HAL_GetTick();

// 	uint32_t now = HAL_GetTick();
// 	if (now - buttonstate_ts > DEBOUNCE_MILLIS)
// 	{
// 		if (buttonstate != HAL_GPIO_ReadPin(S_PRV_GPIO_Port, S_PRV_Pin) == 1)
// 		{
// 			buttonstate = !buttonstate;
// 			buttonstate_ts = now;
// 		}
// 	}
// 	return buttonstate;
// }

// eButtonEvent getButtonEvent()
// {
// 	static const uint32_t DOUBLE_GAP_MILLIS_MAX = 1000;
// 	static const uint32_t LONG_MILLIS_MIN = 3000;
// 	static uint32_t button_down_ts = 0;
// 	static uint32_t button_up_ts = 0;
// 	static bool double_pending = false;
// 	static bool long_press_pending = false;
// 	static bool button_down = false;
// 	;

// 	eButtonEvent button_event = NO_PRESS;
// 	uint32_t now = HAL_GetTick();

// 	// If state changed...
// 	if (button_down != buttonState())
// 	{
// 		button_down = !button_down;
// 		if (button_down)
// 		{
// 			// Timestamp button-down
// 			button_down_ts = now;
// 		}
// 		else
// 		{
// 			// Timestamp button-up
// 			button_up_ts = now;

// 			// If double decision pending...
// 			if (double_pending)
// 			{
// 				button_event = DOUBLE_PRESS;
// 				double_pending = false;
// 			}
// 			else
// 			{
// 				double_pending = true;
// 			}

// 			// Cancel any long press pending
// 			long_press_pending = false;
// 		}
// 	}

// 	// If button-up and double-press gap time expired, it was a single press
// 	if (!button_down && double_pending && now - button_up_ts > DOUBLE_GAP_MILLIS_MAX)
// 	{
// 		double_pending = false;
// 		button_event = SINGLE_PRESS;
// 	}
// 	// else if button-down for long-press...
// 	else if (!long_press_pending && button_down && now - button_down_ts > LONG_MILLIS_MIN)
// 	{
// 		button_event = LONG_PRESS;
// 		long_press_pending = false;
// 		double_pending = false;
// 	}

// 	return button_event;
// }

/* USER CODE END 0 */

int main(void)
{
	/* USER CODE BEGIN 1 */
	//	current_pos.position_cursor = 1;
	//	data_reg = {1,0,0,1,0,0};
	/* USER CODE END 1 */

	/* MCU Configuration--------------------------------------------------------*/

	/* Reset of all peripherals, Initializes the Flash interface and the Systick. */
	HAL_Init();

	/* Configure the system clock */
	SystemClock_Config();

	/* Initialize all configured peripherals */
	MX_GPIO_Init();
	MX_TIM6_Init();
	MX_USART1_UART_Init();
	MX_TIM14_Init();
	MX_I2C1_Init();
	/* USER CODE BEGIN 2 */
	HAL_TIM_Base_Start_IT(&htim6);
	HAL_TIM_Base_Start_IT(&htim14);
	//	lcd_init();

	//	HAL_Delay(1000);
	//	home_page();
	//	HAL_Delay(1000);
	//	lcd_clear();

	HAL_Delay(100);
	lcd_init();
	HAL_Delay(100);
	home_page();
	HAL_Delay(100);
	lcd_clear();
	page1_print();
	HAL_Delay(100);
	//  	data_reg.sensor = 1;
	init_gesture();
	HAL_Delay(100);
	uint8_t sns_status = 0;
	uint8_t page_change_flag = 0;

	data_reg.sensor = 0;

	uint32_t temp_time = HAL_GetTick();
	HAL_Delay(10);

	pg3_sm = off;
	pg3_md = off;
	pg3_wd = off;

	uint8_t lst_fg = 1;
	uint8_t lst_btm = 0;
	// pg2_fc = 0;

	send_cmd(1, intensity); // F1
	send_cmd(1, lamp);		// F2
	send_cmd(0, endo);		// F3

	HAL_UART_Receive_IT(&huart1, trans, 2);
	//	 HAL_UART_Receive_DMA(&huart1, trans, 2);
	//	HAL_UART_Receive_IT(&huart1,pic,1);
	/* USER CODE END 2 */

	/* Infinite loop */
	while (1)
	{

		/* USER CODE BEGIN 3 */

		// HAL_UART_Receive (&huart1, &trans[0], 4, HAL_MAX_DELAY);
		if (int_flag == 1)
		{

			/******************/
			// lamp on/off
			int_flag = 0;
			// HAL_UART_Transmit(&huart1, trans, 2, HAL_MAX_DELAY);

			if (trans[1] == '1')
			{
				pg2_fc = 0;
				lst_btm = 1;
				current_pos.key_number = _lmp; // _depth
				current_pos.position_cursor = lamp;
				interrupt_reg.update_data = 1;
				// HAL_UART_Transmit(&huart1, "1$", 2, 5);
			}

			// inten up
			else if (trans[1] == '2')
			{
				pg2_fc = 0;
				lst_btm = 2;
				current_pos.key_number = _pos;
				current_pos.position_cursor = intensity;
				interrupt_reg.update_data = 1;
				// HAL_UART_Transmit(&huart1, "2$", 5, 5);
			}

			// inten down
			else if (trans[1] == '3')
			{
				pg2_fc = 0;
				lst_btm = 3;
				current_pos.key_number = _neg;
				current_pos.position_cursor = intensity;
				interrupt_reg.update_data = 1;
				// HAL_UART_Transmit(&huart1, "3$", 5, 5);
			}

			// color +ve
			else if (trans[1] == '4')
			{
				pg2_fc = 0;
				lst_btm = 4;
				// right side
				current_pos.key_number = _pos; // _depth
				current_pos.position_cursor = color;
				interrupt_reg.update_data = 1;

				// HAL_UART_Transmit(&huart1, "4$", 5, 5);
			}

			// color -ve

			else if (trans[1] == '5')
			{
				pg2_fc = 0;
				lst_btm = 5;
				// left side
				current_pos.key_number = _neg; // _depth
				current_pos.position_cursor = color;
				interrupt_reg.update_data = 1;
				// HAL_UART_Transmit(&huart1, "5$", 5, 5);
			}

			else if (trans[1] == '6')
			{
				// 	// left side
				pg2_fc = 1; // print pg3
				if(lst_btm == 6)
				{
					if(current_pos.position_cursor >= 3)
					{
						current_pos.position_cursor =  1;
					}
					else
					{
						current_pos.position_cursor++;
					}
				}

				// if (lst_fg == 1)
				// {
				// 	current_pos.position_cursor = 1;
				// 	pg3_sm = 1;
				// 	lst_fg = 2;
				// }
				// else if (lst_fg == 2)
				// {
				// 	current_pos.position_cursor = 2;
				// 	pg3_md = 1;
				// 	lst_fg = 3;
				// }

				// else if (lst_fg == 3)
				// {
				// 	current_pos.position_cursor = 3;
				// 	pg3_wd = 1;
				// 	lst_fg = 1;
				// }

				if (current_pos.position_cursor == 1)
				{
					pg3_sm = 1;
					// current_pos.position_cursor = 2;
				}
				else if (current_pos.position_cursor == 2)
				{
					pg3_md = 1;
					// current_pos.position_cursor = 3;
				}
				else if (current_pos.position_cursor == 3)
				{
					pg3_wd = 1;
					// current_pos.position_cursor = 1;
				}
				else
				{
					current_pos.position_cursor = 1;
				}
				lcd_clear();
				last_pg = 3;
				update_screen_data_3();
					lst_btm = 6;
				// interrupt_reg.update_data = 1;
				// HAL_UART_Transmit(&huart1, "6$", 5, 5);
			}

			else if (trans[1] == '7')
			{
				// print pg3
				pg2_fc = 1;
				lst_btm = 7;

				// if (lst_fg == 1)
				// {
				// 	current_pos.position_cursor = 1;
				// 	pg3_sm = 0;
				// 	// lst_fg = 2;
				// }
				// else if (lst_fg == 2)
				// {
				// 	current_pos.position_cursor = 2;
				// 	pg3_md = 0;
				// 	// lst_fg = 3;
				// }

				// else if (lst_fg == 3)
				// {
				// 	current_pos.position_cursor = 3;
				// 	pg3_wd = 0;
				// 	// lst_fg = 1;
				// }

				if (current_pos.position_cursor == 1)
				{
					pg3_sm = 0;
					// current_pos.position_cursor = 2;
				}
				else if (current_pos.position_cursor == 2)
				{
					pg3_md = 0;
					// current_pos.position_cursor = 3;
				}
				else if (current_pos.position_cursor == 3)
				{
					pg3_wd = 0;
					// current_pos.position_cursor = 1;
				}
				// else
				// {
				// 	current_pos.position_cursor = 1;
				// }
				lcd_clear();
				last_pg = 3;
				update_screen_data_3();

				// interrupt_reg.update_data = 1;
				// HAL_UART_Transmit(&huart1, "7$", 5, 5);
			}

			// endo on

			else if (trans[1] == '8')
			{
				pg2_fc = 0;
				lst_btm = 8;

				// left side

				// if (data_reg.endo)
				// {
				// 	current_pos.key_number = _neg; // _depth
				// }
				// else
				// {
				// 	current_pos.key_number = _pos;
				// }
				current_pos.key_number = _pos;
				current_pos.position_cursor = endo;
				interrupt_reg.update_data = 1;
				// HAL_UART_Transmit(&huart1, "8$", 2, 5);
			}
			else if (trans[1] == '9')
			{
				pg2_fc = 0;
				lst_btm = 9;

				current_pos.key_number = _neg;
				current_pos.position_cursor = endo;
				interrupt_reg.update_data = 1;
				// HAL_UART_Transmit(&huart1, "8$", 2, 5);
			}
			/******************/
			// endo on / off
			// else if (trans[1] == '9')
			// {
			// 	// left side
			// 	pg2_fc = 1; // print pg3

			// 	if (current_pos.position_cursor == 1)
			// 	{
			// 		current_pos.position_cursor = 2;
			// 	}
			// 	else if (current_pos.position_cursor == 2)
			// 	{
			// 		current_pos.position_cursor = 3;
			// 	}
			// 	else if (current_pos.position_cursor == 3)
			// 	{
			// 		current_pos.position_cursor = 1;
			// 	}
			// 	else
			// 	{
			// 		current_pos.position_cursor = 1;
			// 	}

			// 	interrupt_reg.update_data = 1;
			// 	HAL_UART_Transmit(&huart1, "7$", 5, 5);
			// }
		}

		if (HAL_GPIO_ReadPin(S_PRV_GPIO_Port, S_PRV_Pin) == 0)
		{
			interrupt_reg.key_flag = 1;
			key_pressed.prv = 1;
		}

		if (HAL_GPIO_ReadPin(S_NEXT_GPIO_Port, S_NEXT_Pin) == 0)
		{
			interrupt_reg.key_flag = 1;
			key_pressed.nxt = 1;
		}

		if (HAL_GPIO_ReadPin(DEPTH_GPIO_Port, DEPTH_Pin) == 0)
		{
			interrupt_reg.key_flag = 1;
			key_pressed.depth = 1;
		}
		if (HAL_GPIO_ReadPin(CHANGE_N_GPIO_Port, CHANGE_N_Pin) == 0)
		{

			key_pressed.neg = 1;
			interrupt_reg.key_flag = 1;
		}

		if (HAL_GPIO_ReadPin(CHANGE_P_GPIO_Port, CHANGE_P_Pin) == 0)
		{

			key_pressed.pos = 1;
			interrupt_reg.key_flag = 1;
		}

		if (interrupt_reg.key_flag)
		{

			if (HAL_GPIO_ReadPin(S_PRV_GPIO_Port, S_PRV_Pin) == 0)
			{
				temp_time = HAL_GetTick();
				// temp_time = tt_cnt;
				HAL_Delay(50);
				while ((HAL_GetTick() - temp_time) <= 2000) // while ((tt_cnt - temp_time) >= 5000) // while ((HAL_GetTick() - temp_time) >= 5000)  // error tt_cnt
				{
					if (HAL_GPIO_ReadPin(S_PRV_GPIO_Port, S_PRV_Pin))
					{
						interrupt_reg.key_flag = 1;
						interrupt_reg.prv_long_press = 0;
						break;
					}
					interrupt_reg.key_flag = 0;
					interrupt_reg.prv_long_press = 1;
					HAL_Delay(50);
				}
			}

			if (HAL_GPIO_ReadPin(DEPTH_GPIO_Port, DEPTH_Pin) == 0)
			{
				temp_time = HAL_GetTick();
				HAL_Delay(50);
				while ((HAL_GetTick() - temp_time) <= 5000)
				{
					if (HAL_GPIO_ReadPin(DEPTH_GPIO_Port, DEPTH_Pin))
					{
						interrupt_reg.key_flag = 1;
						interrupt_reg.depth_long_press = 0;
						break;
					}
					interrupt_reg.key_flag = 0;
					interrupt_reg.depth_long_press = 1;
				}
			}

			if (interrupt_reg.key_flag)
			{
				beep_sound();
				// if (!data_reg.sensor)
				// {
				update_key_press();
				interrupt_reg.key_flag = 0;
				interrupt_reg.update_data = 1;
				// }

				interrupt_reg.key_flag = 0;
			}

			if (interrupt_reg.prv_long_press)
			{
				beep_sound();
				interrupt_reg.prv_long_press = 0;
				key_pressed.prv = 0;
				// interrupt_reg.update_data = 0;
				data_reg.sensor = !data_reg.sensor;
				if (last_pg == 1)
				{
					clr_data(sensor);

					if (data_reg.sensor)
						lcd_puts(3, 7, (int8_t *)"ON");
					else
						lcd_puts(3, 7, (int8_t *)"OFF");
				}
				sns_status = 1;
			}

			if (interrupt_reg.depth_long_press)
			{
				//				lcd_puts(0, 0, (int8_t *)"...");
				page_change_flag = 1;
				beep_sound();
				current_pos.key_number = _depth;
				interrupt_reg.depth_long_press = 0;
				key_pressed.depth = 0;
				interrupt_reg.key_flag = 0;
				//				interrupt_reg.update_data = 1;
			}
			//			else if (interrupt_reg.gesture_flag)
			//			{
			//				beep_sound();
			//				interrupt_reg.gesture_flag = 0;
			//				interrupt_reg.update_data = 1;
			//			}
		}

		if (data_reg.sensor)
		{
			HAL_Delay(10);
			//			test[0] = 's';
			//			test[1] = '0';
			if (gestureAvailable())
			{
				//				test[1] = 'L';
				//				HAL_UART_Transmit(&huart1, &test[0], 5, 100);
				uint8_t gesture = readGesture();
				switch (gesture)
				{
				case 0:
					beep_sound();
					// test[1] = 'z';
					// HAL_UART_Transmit(&huart1, &test[0], 5, 100);
					key_pressed.prv = 1;
					update_key_press();
					// lcd_puts(2, 1, (int8_t *)"UUUU");
					interrupt_reg.update_data = 1;
					break;

				case 1:
					beep_sound();
					// test[1] = '1';
					// HAL_UART_Transmit(&huart1, &test[0], 5, 100);
					key_pressed.nxt = 1;
					update_key_press();
					// lcd_puts(2, 1, (int8_t *)"DDD");
					interrupt_reg.update_data = 1;
					break;

				case 2:
					beep_sound();
					// 					test[1] = '2';
					// 					HAL_UART_Transmit(&huart1, &test[0], 5, 100);
					key_pressed.neg = 1;
					update_key_press();
					// lcd_puts(2, 1, (int8_t *)"LLL");
					interrupt_reg.update_data = 1;
					break;

				case 3:
					beep_sound();
					// test[1] = '3';
					// HAL_UART_Transmit(&huart1, &test[0], 5, 100);
					key_pressed.pos = 1;
					update_key_press();
					// lcd_puts(2, 1, (int8_t *)"RRRR");
					interrupt_reg.update_data = 1;
					break;

				default:
					break;
				}
			}
		}

		if (interrupt_reg.update_data)
		{
			//			char buffers[3];
			update_new_data();

			if (current_pos.position_cursor == 7)
			{

				//					if(last_pg != 2)
				//					{
				//						lcd_clear();
				//						page_2_print();
				//					}
				//					update_screen_data_2();

				if (pg2_fc == 0)
				{
					//						lcd_clear();
					if (last_pg != 2)
					{
						lcd_clear();
						page_2_print();
					}

					last_pg = 2;
					update_screen_data_2();
				}
				else if (pg2_fc == 1)
				{
					//						lcd_clear();
					// if (last_pg != 3)
					// {
					// 	lcd_clear();
					// 	page_3_print();
					// 	last_pg = 3;
					// }
					//						lcd_clear();
					//						page_3_print();

					update_screen_data_3();
				}

				//					sprintf(buffers, "%02d", current_pos.position_cursor);
				//					lcd_puts(3, 16, (int8_t *)buffers);
			}
			else if ((current_pos.position_cursor >= 1) || (current_pos.position_cursor <= 6))
			{
				if (pg2_fc == 0)
				{

					if (last_pg != 1)
					{
						lcd_clear();
						page1_print();
					}

					last_pg = 1;
					update_screen_data();

					//					if(current_pos.position_cursor >= 1)
					//					{
					//	//					current_pos.position_cursor = 1;
					//						lcd_clear();
					//						page1_print();
					//					}

					//					sprintf(buffers, "%02d", current_pos.position_cursor);
					//				lcd_puts(2, 16, (int8_t *)buffers);
				}

				else if (pg2_fc == 1)
				{
					if (current_pos.position_cursor > 3)
					{
						current_pos.position_cursor = 7;
					}

					if (last_pg != 3)
					{
						lcd_clear();
						page_3_print();
					}

					last_pg = 3;
					update_screen_data_3();
					//					sprintf(buffers, "%02d", current_pos.position_cursor);
					//					lcd_puts(3, 16, (int8_t *)buffers);
				}
			}

			interrupt_reg.update_data = 0;
		}

		if (page_change_flag)
		{
			clock_page();
			Total_Time_Print(tt_cnt); // tt_cnt timer_intrupt
			HAL_Delay(5000);
			lcd_clear();
			page1_print();
			page_change_flag = 0;
			interrupt_reg.update_data = 0;
			interrupt_reg.key_flag = 0;
		}
		//		HAL_Delay(100);
	}
	/* USER CODE END 3 */
}

void SystemClock_Config(void)
{
	RCC_OscInitTypeDef RCC_OscInitStruct = {0};
	RCC_ClkInitTypeDef RCC_ClkInitStruct = {0};
	RCC_PeriphCLKInitTypeDef PeriphClkInit = {0};

	/** Initializes the RCC Oscillators according to the specified parameters
	 * in the RCC_OscInitTypeDef structure.
	 */
	RCC_OscInitStruct.OscillatorType = RCC_OSCILLATORTYPE_HSI;
	RCC_OscInitStruct.HSIState = RCC_HSI_ON;
	RCC_OscInitStruct.HSICalibrationValue = RCC_HSICALIBRATION_DEFAULT;
	RCC_OscInitStruct.PLL.PLLState = RCC_PLL_ON;
	RCC_OscInitStruct.PLL.PLLSource = RCC_PLLSOURCE_HSI;
	RCC_OscInitStruct.PLL.PLLMUL = RCC_PLL_MUL8;
	RCC_OscInitStruct.PLL.PREDIV = RCC_PREDIV_DIV1;
	if (HAL_RCC_OscConfig(&RCC_OscInitStruct) != HAL_OK)
	{
		Error_Handler();
	}

	/** Initializes the CPU, AHB and APB buses clocks
	 */
	RCC_ClkInitStruct.ClockType = RCC_CLOCKTYPE_HCLK | RCC_CLOCKTYPE_SYSCLK | RCC_CLOCKTYPE_PCLK1;
	RCC_ClkInitStruct.SYSCLKSource = RCC_SYSCLKSOURCE_PLLCLK;
	RCC_ClkInitStruct.AHBCLKDivider = RCC_SYSCLK_DIV1;
	RCC_ClkInitStruct.APB1CLKDivider = RCC_HCLK_DIV1;

	if (HAL_RCC_ClockConfig(&RCC_ClkInitStruct, FLASH_LATENCY_1) != HAL_OK)
	{
		Error_Handler();
	}
	PeriphClkInit.PeriphClockSelection = RCC_PERIPHCLK_USART1 | RCC_PERIPHCLK_I2C1;
	PeriphClkInit.Usart1ClockSelection = RCC_USART1CLKSOURCE_PCLK1;
	PeriphClkInit.I2c1ClockSelection = RCC_I2C1CLKSOURCE_HSI;
	if (HAL_RCCEx_PeriphCLKConfig(&PeriphClkInit) != HAL_OK)
	{
		Error_Handler();
	}
}

static void MX_I2C1_Init(void)
{

	hi2c1.Instance = I2C1;
	hi2c1.Init.Timing = 0x2000090E;
	hi2c1.Init.OwnAddress1 = 0;
	hi2c1.Init.AddressingMode = I2C_ADDRESSINGMODE_7BIT;
	hi2c1.Init.DualAddressMode = I2C_DUALADDRESS_DISABLE;
	hi2c1.Init.OwnAddress2 = 0;
	hi2c1.Init.OwnAddress2Masks = I2C_OA2_NOMASK;
	hi2c1.Init.GeneralCallMode = I2C_GENERALCALL_DISABLE;
	hi2c1.Init.NoStretchMode = I2C_NOSTRETCH_DISABLE;
	if (HAL_I2C_Init(&hi2c1) != HAL_OK)
	{
		Error_Handler();
	}

	/** Configure Analogue filter
	 */
	if (HAL_I2CEx_ConfigAnalogFilter(&hi2c1, I2C_ANALOGFILTER_ENABLE) != HAL_OK)
	{
		Error_Handler();
	}

	/** Configure Digital filter
	 */
	if (HAL_I2CEx_ConfigDigitalFilter(&hi2c1, 0) != HAL_OK)
	{
		Error_Handler();
	}
}

static void MX_TIM6_Init(void)
{

	htim6.Instance = TIM6;
	htim6.Init.Prescaler = 32000 - 1;
	htim6.Init.CounterMode = TIM_COUNTERMODE_UP;
	htim6.Init.Period = 1000 - 1;
	htim6.Init.AutoReloadPreload = TIM_AUTORELOAD_PRELOAD_ENABLE;
	if (HAL_TIM_Base_Init(&htim6) != HAL_OK)
	{
		Error_Handler();
	}
}

static void MX_TIM14_Init(void)
{

	htim14.Instance = TIM14;
	htim14.Init.Prescaler = 32000 - 1;
	htim14.Init.CounterMode = TIM_COUNTERMODE_UP;
	htim14.Init.Period = 3000;
	htim14.Init.ClockDivision = TIM_CLOCKDIVISION_DIV1;
	htim14.Init.AutoReloadPreload = TIM_AUTORELOAD_PRELOAD_DISABLE;
	if (HAL_TIM_Base_Init(&htim14) != HAL_OK)
	{
		Error_Handler();
	}
}

static void MX_USART1_UART_Init(void)
{

	huart1.Instance = USART1;
	huart1.Init.BaudRate = 115200;
	huart1.Init.WordLength = UART_WORDLENGTH_8B;
	huart1.Init.StopBits = UART_STOPBITS_1;
	huart1.Init.Parity = UART_PARITY_NONE;
	huart1.Init.Mode = UART_MODE_TX_RX;
	huart1.Init.HwFlowCtl = UART_HWCONTROL_NONE;
	huart1.Init.OverSampling = UART_OVERSAMPLING_16;
	huart1.Init.OneBitSampling = UART_ONE_BIT_SAMPLE_DISABLE;
	huart1.AdvancedInit.AdvFeatureInit = UART_ADVFEATURE_NO_INIT;
	if (HAL_UART_Init(&huart1) != HAL_OK)
	{
		Error_Handler();
	}
}

static void MX_GPIO_Init(void)
{
	GPIO_InitTypeDef GPIO_InitStruct = {0};

	/* GPIO Ports Clock Enable */
	__HAL_RCC_GPIOF_CLK_ENABLE();
	__HAL_RCC_GPIOA_CLK_ENABLE();
	__HAL_RCC_GPIOB_CLK_ENABLE();

	/*Configure GPIO pin Output Level */
	HAL_GPIO_WritePin(GPIOA, D4_Pin | D5_Pin | D6_Pin | D7_Pin | E_Pin | RS_Pin | BUZZER_Pin | PA7_Pin | LED2_Pin | LED1_Pin, GPIO_PIN_RESET);

	/*Configure GPIO pin Output Level */
	HAL_GPIO_WritePin(GPIOB, PB0_Pin | GPIO_PIN_1 | PB2_Pin | GPIO_PIN_10, GPIO_PIN_RESET);

	/*Configure GPIO pins : D4_Pin D5_Pin D6_Pin D7_Pin
							 E_Pin RS_Pin BUZZER_Pin PA7_Pin
							 LED2_Pin LED1_Pin */
	GPIO_InitStruct.Pin = D4_Pin | D5_Pin | D6_Pin | D7_Pin | E_Pin | RS_Pin | BUZZER_Pin | PA7_Pin | LED2_Pin | LED1_Pin;
	GPIO_InitStruct.Mode = GPIO_MODE_OUTPUT_PP;
	GPIO_InitStruct.Pull = GPIO_NOPULL;
	GPIO_InitStruct.Speed = GPIO_SPEED_FREQ_LOW;
	HAL_GPIO_Init(GPIOA, &GPIO_InitStruct);

	/*Configure GPIO pins : PB0_Pin PB1 PB2_Pin PB10 */
	GPIO_InitStruct.Pin = PB0_Pin | GPIO_PIN_1 | PB2_Pin | GPIO_PIN_10;
	GPIO_InitStruct.Mode = GPIO_MODE_OUTPUT_PP;
	GPIO_InitStruct.Pull = GPIO_NOPULL;
	GPIO_InitStruct.Speed = GPIO_SPEED_FREQ_LOW;
	HAL_GPIO_Init(GPIOB, &GPIO_InitStruct);

	/*Configure GPIO pins : S_PRV_Pin S_NEXT_Pin DEPTH_Pin IR_N_Pin
							 CHANGE_N_Pin */
	GPIO_InitStruct.Pin = S_PRV_Pin | S_NEXT_Pin | DEPTH_Pin | IR_N_Pin | CHANGE_N_Pin;
	GPIO_InitStruct.Mode = GPIO_MODE_IT_RISING;
	GPIO_InitStruct.Pull = GPIO_NOPULL;
	HAL_GPIO_Init(GPIOB, &GPIO_InitStruct);

	/*Configure GPIO pin : CHANGE_P_Pin */
	GPIO_InitStruct.Pin = CHANGE_P_Pin;
	GPIO_InitStruct.Mode = GPIO_MODE_IT_RISING;
	GPIO_InitStruct.Pull = GPIO_NOPULL;
	HAL_GPIO_Init(CHANGE_P_GPIO_Port, &GPIO_InitStruct);

	/*Configure GPIO pin : I2C_INT_Pin */
	GPIO_InitStruct.Pin = I2C_INT_Pin;
	GPIO_InitStruct.Mode = GPIO_MODE_INPUT;
	GPIO_InitStruct.Pull = GPIO_NOPULL;
	HAL_GPIO_Init(I2C_INT_GPIO_Port, &GPIO_InitStruct);

	/* EXTI interrupt init*/
	HAL_NVIC_SetPriority(EXTI4_15_IRQn, 0, 0);
	HAL_NVIC_EnableIRQ(EXTI4_15_IRQn);

}

void Error_Handler(void)
{
	__disable_irq();
	while (1)
	{
	}
}
